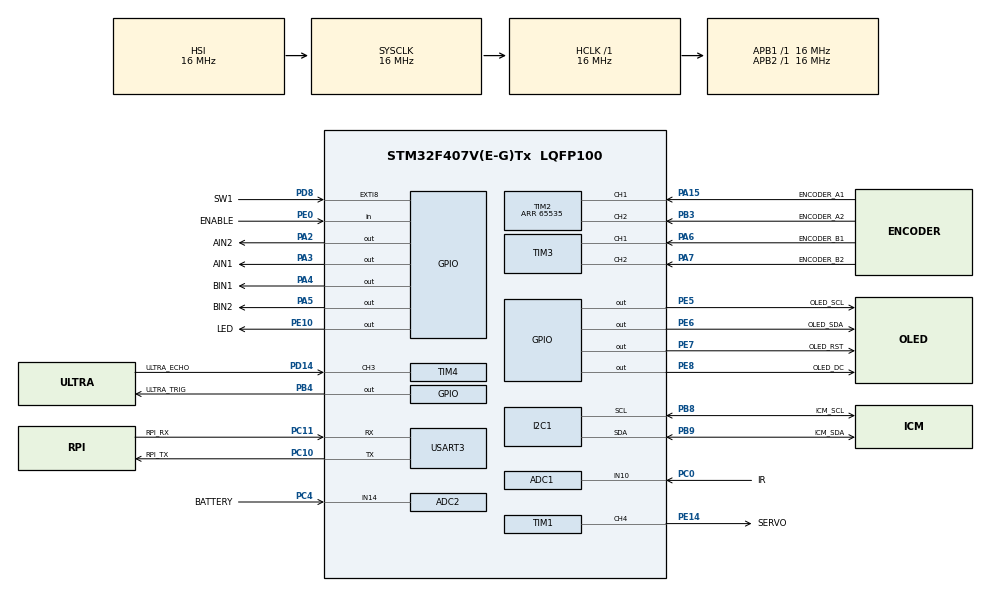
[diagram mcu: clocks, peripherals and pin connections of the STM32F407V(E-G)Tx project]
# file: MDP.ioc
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ADC1.Channel-2\#ChannelRegularConversion=ADC_CHANNEL_10
ADC1.NbrOfConversion=1
ADC1.NbrOfConversionFlag=1
ADC1.Rank-2\#ChannelRegularConversion=1
ADC1.SamplingTime-2\#ChannelRegularConversion=ADC_SAMPLETIME_3CYCLES
ADC1.master=1
ADC2.Channel-1\#ChannelRegularConversion=ADC_CHANNEL_14
ADC2.NbrOfConversionFlag=1
ADC2.Rank-1\#ChannelRegularConversion=1
ADC2.SamplingTime-1\#ChannelRegularConversion=ADC_SAMPLETIME_3CYCLES
FREERTOS.Tasks01=OLEDTask,24,128,oled,Default,NULL,Dynamic,NULL,NULL;IRTask,24,128,ir,Default,NULL,Dynamic,NULL,NULL;RPiTask,24,128,rpi,Default,NULL,Dynamic,NULL,NULL;ServoTask,24,128,servo,Default,NULL,Dynamic,NULL,NULL;DispatchTask,24,128,dispatch,Default,NULL,Dynamic,NULL,NULL;BatteryTask,24,128,battery,Default,NULL,Dynamic,NULL,NULL;LEDTask,24,128,led,Default,NULL,Dynamic,NULL,NULL;UltraTask,24,128,ultra,Default,NULL,Dynamic,NULL,NULL;MotorTask,24,128,motor,Default,NULL,Dynamic,NULL,NULL;EncoderTask,24,128,encoder,Default,NULL,Dynamic,NULL,NULL;ICMTask,24,128,icm,Default,NULL,Dynamic,NULL,NULL
I2C1.I2C_Mode=I2C_Fast
Mcu.Family=STM32F4
Mcu.Name=STM32F407V(E-G)Tx
Mcu.Package=LQFP100
NVIC.EXTI9_5_IRQn=true\:5\:0\:false\:false\:true\:true\:true\:true\:true
NVIC.PriorityGroup=NVIC_PRIORITYGROUP_4
NVIC.TIM4_IRQn=true\:5\:0\:false\:false\:true\:true\:true\:true\:true
NVIC.USART3_IRQn=true\:5\:0\:false\:false\:true\:true\:true\:true\:true
PA15.GPIO_Label=ENCODER_A1
PA15.Signal=S_TIM2_CH1_ETR
PA2.GPIO_Label=AIN2
PA2.GPIO_Speed=GPIO_SPEED_FREQ_HIGH
PA2.Signal=GPIO_Output
PA3.GPIO_Label=AIN1
PA3.GPIO_Speed=GPIO_SPEED_FREQ_HIGH
PA3.Signal=GPIO_Output
PA4.GPIO_Label=BIN1
PA4.GPIO_Speed=GPIO_SPEED_FREQ_HIGH
PA4.Signal=GPIO_Output
PA5.GPIO_Label=BIN2
PA5.GPIO_Speed=GPIO_SPEED_FREQ_HIGH
PA5.Signal=GPIO_Output
PA6.GPIO_Label=ENCODER_B1
PA6.Signal=S_TIM3_CH1
PA7.GPIO_Label=ENCODER_B2
PA7.Signal=S_TIM3_CH2
PB3.GPIO_Label=ENCODER_A2
PB3.Signal=S_TIM2_CH2
PB4.GPIO_Label=ULTRA_TRIG
PB4.Signal=GPIO_Output
PB8.GPIO_Label=ICM_SCL
PB8.GPIO_Pu=GPIO_PULLUP
PB8.Mode=I2C
PB8.Signal=I2C1_SCL
PB9.GPIO_Label=ICM_SDA
PB9.GPIO_Pu=GPIO_PULLUP
PB9.Mode=I2C
PB9.Signal=I2C1_SDA
PC0.GPIO_Label=IR
PC0.Signal=ADCx_IN10
PC10.GPIO_Label=RPI_TX
PC10.Mode=Asynchronous
PC10.Signal=USART3_TX
PC11.GPIO_Label=RPI_RX
PC11.Mode=Asynchronous
PC11.Signal=USART3_RX
PC4.GPIO_Label=BATTERY
PC4.Signal=ADCx_IN14
PC6.GPIO_Label=PWMA
PC6.Signal=S_TIM8_CH1
PC7.GPIO_Label=PWMB
PC7.Signal=S_TIM8_CH2
PD14.GPIO_Label=ULTRA_ECHO
PD14.Signal=S_TIM4_CH3
PD8.GPIO_Label=SW1
PD8.GPIO_ModeDefaultEXTI=GPIO_MODE_IT_FALLING
PD8.Signal=GPXTI8
PE0.GPIO_Label=ENABLE
PE0.Signal=GPIO_Input
PE10.GPIO_Label=LED
PE10.Signal=GPIO_Output
PE14.GPIO_Label=SERVO
PE14.Signal=S_TIM1_CH4
PE5.GPIO_Label=OLED_SCL
PE5.Signal=GPIO_Output
PE6.GPIO_Label=OLED_SDA
PE6.Signal=GPIO_Output
PE7.GPIO_Label=OLED_RST
PE7.Signal=GPIO_Output
PE8.GPIO_Label=OLED_DC
PE8.Signal=GPIO_Output
ProjectManager.HeapSize=0x200
ProjectManager.StackSize=0x400
ProjectManager.TargetToolchain=STM32CubeIDE
RCC.AHBFreq_Value=16000000
RCC.APB1Freq_Value=16000000
RCC.APB2Freq_Value=16000000
RCC.CortexFreq_Value=16000000
RCC.HSE_VALUE=25000000
RCC.HSI_VALUE=16000000
RCC.LSE_VALUE=32768
RCC.SYSCLKFreq_VALUE=16000000
RCC.VCOOutputFreq_Value=192000000
SH.ADCx_IN10.0=ADC1_IN10,IN10
SH.ADCx_IN14.0=ADC2_IN14,IN14
SH.S_TIM1_CH4.0=TIM1_CH4,PWM Generation4 CH4
SH.S_TIM2_CH1_ETR.0=TIM2_CH1,Encoder_Interface
SH.S_TIM2_CH2.0=TIM2_CH2,Encoder_Interface
SH.S_TIM3_CH1.0=TIM3_CH1,Encoder_Interface
SH.S_TIM3_CH2.0=TIM3_CH2,Encoder_Interface
SH.S_TIM4_CH3.0=TIM4_CH3,Input_Capture3_from_TI3
SH.S_TIM8_CH1.0=TIM8_CH1
SH.S_TIM8_CH2.0=TIM8_CH2
TIM1.AutoReloadPreload=TIM_AUTORELOAD_PRELOAD_ENABLE
TIM1.Channel-PWM\ Generation4\ CH4=TIM_CHANNEL_4
TIM1.Period=1000
TIM1.Prescaler=320
TIM2.EncoderMode=TIM_ENCODERMODE_TI12
TIM2.IC1Filter=10
TIM2.IC2Filter=10
TIM2.Period=65535
TIM3.EncoderMode=TIM_ENCODERMODE_TI12
TIM3.IC1Filter=10
TIM3.IC2Filter=10
TIM4.Channel-Input_Capture3_from_TI3=TIM_CHANNEL_3
TIM4.Prescaler=15
TIM5.Prescaler=15
TIM8.Channel-PWM\ Generation1\ No\ Output=TIM_CHANNEL_1
TIM8.Channel-PWM\ Generation2\ No\ Output=TIM_CHANNEL_2
TIM8.Period=16799
USART3.VirtualMode=VM_ASYNC
VP_FREERTOS_VS_CMSIS_V2.Mode=CMSIS_V2
VP_TIM5_VS_ClockSourceINT.Mode=Internal
VP_TIM8_VS_ClockSourceINT.Mode=Internal
VP_TIM8_VS_no_output1.Mode=PWM Generation1 No Output
VP_TIM8_VS_no_output2.Mode=PWM Generation2 No Output
board=custom

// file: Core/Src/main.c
/* USER CODE BEGIN Header */
/**
  ******************************************************************************
  * @file           : main.c
  * @brief          : Main program body
  ******************************************************************************
  * @attention
  *
  * Copyright (c) 2022 STMicroelectronics.
  * All rights reserved.
  *
  * This software is licensed under terms that can be found in the LICENSE file
  * in the root directory of this software component.
  * If no LICENSE file comes with this software, it is provided AS-IS.
  *
  ******************************************************************************
  */
/* USER CODE END Header */
#include "main.h"
#include "cmsis_os.h"

/* USER CODE BEGIN Includes */
#include <stdio.h>
#include <stdlib.h>
#include <string.h>
#include "icm20948.h"
#include "oled.h"
#include "tm_stm32_ahrs_imu.h"
#include "tm_stm32_i2c.h"
/* USER CODE END Includes */

ADC_HandleTypeDef hadc1;
ADC_HandleTypeDef hadc2;

I2C_HandleTypeDef hi2c1;

TIM_HandleTypeDef htim1;
TIM_HandleTypeDef htim2;
TIM_HandleTypeDef htim3;
TIM_HandleTypeDef htim4;
TIM_HandleTypeDef htim5;
TIM_HandleTypeDef htim8;

UART_HandleTypeDef huart3;

/* Definitions for OLEDTask */
osThreadId_t OLEDTaskHandle;
const osThreadAttr_t OLEDTask_attributes = {
  .name = "OLEDTask",
  .stack_size = 128 * 4,
  .priority = (osPriority_t) osPriorityNormal,
};
/* Definitions for IRTask */
osThreadId_t IRTaskHandle;
const osThreadAttr_t IRTask_attributes = {
  .name = "IRTask",
  .stack_size = 128 * 4,
  .priority = (osPriority_t) osPriorityNormal,
};
/* Definitions for RPiTask */
osThreadId_t RPiTaskHandle;
const osThreadAttr_t RPiTask_attributes = {
  .name = "RPiTask",
  .stack_size = 128 * 4,
  .priority = (osPriority_t) osPriorityNormal,
};
/* Definitions for ServoTask */
osThreadId_t ServoTaskHandle;
const osThreadAttr_t ServoTask_attributes = {
  .name = "ServoTask",
  .stack_size = 128 * 4,
  .priority = (osPriority_t) osPriorityNormal,
};
/* Definitions for DispatchTask */
osThreadId_t DispatchTaskHandle;
const osThreadAttr_t DispatchTask_attributes = {
  .name = "DispatchTask",
  .stack_size = 128 * 4,
  .priority = (osPriority_t) osPriorityNormal,
};
/* Definitions for BatteryTask */
osThreadId_t BatteryTaskHandle;
const osThreadAttr_t BatteryTask_attributes = {
  .name = "BatteryTask",
  .stack_size = 128 * 4,
  .priority = (osPriority_t) osPriorityNormal,
};
/* Definitions for LEDTask */
osThreadId_t LEDTaskHandle;
const osThreadAttr_t LEDTask_attributes = {
  .name = "LEDTask",
  .stack_size = 128 * 4,
  .priority = (osPriority_t) osPriorityNormal,
};
/* Definitions for UltraTask */
osThreadId_t UltraTaskHandle;
const osThreadAttr_t UltraTask_attributes = {
  .name = "UltraTask",
  .stack_size = 128 * 4,
  .priority = (osPriority_t) osPriorityNormal,
};
/* Definitions for MotorTask */
osThreadId_t MotorTaskHandle;
const osThreadAttr_t MotorTask_attributes = {
  .name = "MotorTask",
  .stack_size = 128 * 4,
  .priority = (osPriority_t) osPriorityNormal,
};
/* Definitions for EncoderTask */
osThreadId_t EncoderTaskHandle;
const osThreadAttr_t EncoderTask_attributes = {
  .name = "EncoderTask",
  .stack_size = 128 * 4,
  .priority = (osPriority_t) osPriorityNormal,
};
/* Definitions for ICMTask */
osThreadId_t ICMTaskHandle;
const osThreadAttr_t ICMTask_attributes = {
  .name = "ICMTask",
  .stack_size = 128 * 4,
  .priority = (osPriority_t) osPriorityNormal,
};

void SystemClock_Config(void);
static void MX_GPIO_Init(void);
static void MX_TIM1_Init(void);
static void MX_TIM2_Init(void);
static void MX_TIM3_Init(void);
static void MX_TIM8_Init(void);
static void MX_USART3_UART_Init(void);
static void MX_ADC1_Init(void);
static void MX_ADC2_Init(void);
static void MX_TIM5_Init(void);
static void MX_TIM4_Init(void);
static void MX_I2C1_Init(void);
void oled(void *argument);
void ir(void *argument);
void rpi(void *argument);
void servo(void *argument);
void dispatch(void *argument);
void battery(void *argument);
void led(void *argument);
void ultra(void *argument);
void motor(void *argument);
void encoder(void *argument);
void icm(void *argument);

/* USER CODE BEGIN PFP */
float avgVal(uint32_t *val, uint8_t size, float grad, float inter);
float fmedVal(float *val, uint8_t size);
float irToDist();
int cmpfVal(const void *val1, const void *val2);
int cmpuVal(const void *val1, const void *val2);
uint8_t bufferFilled(uint8_t *buffer, uint8_t size);
void changeProfile();
void clearCmds();
void microDelay(uint32_t us);
void fvalShift(float *val, uint8_t size);
void valShift(uint32_t *val, uint8_t size);

void adjustRobot();
void driveRobot(uint8_t *cmd);
void pid(uint32_t dur);
void stopRobot();
void turnRobot(uint8_t *cmd);
/* USER CODE END PFP */

/* USER CODE BEGIN 0 */
float pi, radius;
float encoderGrad, encoderInt;
float kdbA, kdfA, kibA, kifA, kpbA, kpfA, kdbB, kdfB, kibB, kifB, kpbB, kpfB;
float iTermA, iTermB;
float adjustDist, changeDist, distA, distB, distBuffer, distOffset, eStopDist, robotDist, turnOffset;
float lbGrad, lbInt, lfGrad, lfInt, rbGrad, rbInt, rfGrad, rfInt;
float irMaintain, irMaintainThres, irMeasured[8], irObsThres, prevUltraThres, ultraGrad, ultraHThres, ultraLThres, ultraThres;
float beta, inclination, prevYaw, yawVal[5], yawDiff, yawDir[4], yawThreshold;

int actionCounter, fillCounter;
int highMotorAPWM, highMotorBPWM, lowMotorAPWM, lowMotorBPWM, maxMotorPWM, motorAVal, motorBVal, prevMotorAVal, prevMotorBVal;
int encoderAVal, encoderBVal, encoderTarget;
int countRequired, errorA, errorB, pidCount, prevEncoderA, prevEncoderB;
int robotAngle;

TM_AHRSIMU_t imu;

uint8_t cmds[1000][20], cmdState, rxBuffer[20], txBuffer[20];
uint8_t angleCmd, driveCmd, enablePID, enablePWMDec, enablePWMInc, eStop, irAdjust, startDriving, startPID, ultraSlow;
uint8_t batteryState[13];
uint8_t profile;
uint8_t ultraCapture;
uint8_t adjustDir, enableAdjust, facingDir, useMag;
uint8_t batteryCounter, irCounter, ultraCounter, yawCounter;

uint32_t servoCenter, servoFarLeft, servoFarRight, servoLeft, servoRight, servoVal, timerCounter1, timerCounter2, timerDiff;
uint32_t batteryVal[5], irVal[100], ultraVal[100];
uint32_t batteryDelay, dispatchDelay, encoderDelay, icmDelay, irDelay, ledDelay, motorDelay, oledDelay, rpiDelay, servoDelay, ultraDelay;  // rpiDelay <= encoderDelay
uint32_t adjustDelay, irAdjustDelay, irThresDelay, stoppingDelay, turningDelay;
/* USER CODE END 0 */

int main(void)
{

  /* MCU Configuration--------------------------------------------------------*/

  /* Reset of all peripherals, Initializes the Flash interface and the Systick. */
  HAL_Init();

  /* Configure the system clock */
  SystemClock_Config();

  /* Initialize all configured peripherals */
  MX_GPIO_Init();
  MX_TIM1_Init();
  MX_TIM2_Init();
  MX_TIM3_Init();
  MX_TIM8_Init();
  MX_USART3_UART_Init();
  MX_ADC1_Init();
  MX_ADC2_Init();
  MX_TIM5_Init();
  MX_TIM4_Init();
  MX_I2C1_Init();
  /* USER CODE BEGIN 2 */
  pi = 3.1415926536;
  radius = 3.35;

  adjustDist = 5;  //adjustDist > distBuffer + encoderInt, Distance travelled during each adjustment
  changeDist = 10; //Distance travelled to speed up and distance remaining to slow down

  irMaintainThres = 3; //Turn servo if IR is outside of IR target +- irMaintainThres
  irObsThres = 40;     //Distance to obstacle > irObsThres to stop FIR/BIR, irObsThres > IR target + irMaintainThres

  irMeasured[0] = 1980; //10 cm
  irMeasured[1] = 1300; //20 cm
  irMeasured[2] = 970;  //30 cm
  irMeasured[3] = 780;  //40 cm
  irMeasured[4] = 650;  //50 cm
  irMeasured[5] = 540;  //60 cm
  irMeasured[6] = 470;  //70 cm
  irMeasured[7] = 422;  //80 cm

  ultraGrad = 0.01715;
  ultraLThres = 10; //Distance to obstacle <= ultraThres to emergency stop for low PWM
  ultraHThres = 15; //Distance to obstacle <= ultraThres to emergency stop for high PWM

  beta = 3;        //Gain for yaw calculation
  inclination = 13 + 19.0 / 60;
  prevYaw = -1;
  yawDir[0] = 85;   //North
  yawDir[1] = 4;    //East
  yawDir[2] = 237;  //South
  yawDir[3] = 154;  //West
  yawThreshold = 5; //Yaw is within yawDir[n] +- yawThreshold to stop adjusting

  maxMotorPWM = 12000;

  countRequired = 20;

  clearCmds();

  memset(rxBuffer, 0, 20);
  memset(txBuffer, 0, 20);

  angleCmd = 0;
  driveCmd = 0;
  enablePID = 0;
  irAdjust = 0;
  startDriving = 0;
  startPID = 0;

  sprintf((char*)batteryState, "Batt:       ");

  profile = 0; //0 - Outside Lab, 1 - Inside Lab
  changeProfile();

  ultraCapture = 0;

  enableAdjust = 0; //Adjustment after each movement using Yaw
  facingDir = 0;    //0 - North, 1 - East, 2 - South, 3 - West
  useMag = 1;       //Allow usage of magnetometer for Yaw calculation

  servoCenter = 74;
  servoFarLeft = 50;
  servoFarRight = 109;
  servoLeft = 65;
  servoRight = 85;
  servoVal = servoCenter;

  batteryCounter = 0;
  irCounter = 0;
  ultraCounter = 0;
  yawCounter = 0;

  for (int counter = 0; counter < 5; ++counter)
  {
	batteryVal[counter] = 0;
	yawVal[counter] = 0;
  }

  for (int counter = 0; counter < 100; ++counter)
  {
	irVal[counter] = 0;
	ultraVal[counter] = 0;
  }

  batteryDelay = 2000;
  dispatchDelay = 1;
  encoderDelay = 25;
  icmDelay = 25;
  irDelay = 1;
  ledDelay = 3000;
  motorDelay = 1;
  oledDelay = 10;
  rpiDelay = 1;
  servoDelay = 1;
  ultraDelay = 1;

  adjustDelay = 700;   //Delay for Yaw value to stabilise
  irAdjustDelay = 2;   //Delay for robot to adjust servo for maintaining IR distance
  irThresDelay = 10;   //Delay for robot to move after IR clears obstacle
  stoppingDelay = 100; //Delay for motor to stop before turning back servo after movement stop
  turningDelay = 500;  //Delay for servo to turn before any other movement

  HAL_TIM_Base_Start(&htim5);
  /* USER CODE END 2 */

  /* Init scheduler */
  osKernelInitialize();

  /* Create the thread(s) */
  /* creation of OLEDTask */
  OLEDTaskHandle = osThreadNew(oled, NULL, &OLEDTask_attributes);

  /* creation of IRTask */
  IRTaskHandle = osThreadNew(ir, NULL, &IRTask_attributes);

  /* creation of RPiTask */
  RPiTaskHandle = osThreadNew(rpi, NULL, &RPiTask_attributes);

  /* creation of ServoTask */
  ServoTaskHandle = osThreadNew(servo, NULL, &ServoTask_attributes);

  /* creation of DispatchTask */
  DispatchTaskHandle = osThreadNew(dispatch, NULL, &DispatchTask_attributes);

  /* creation of BatteryTask */
  BatteryTaskHandle = osThreadNew(battery, NULL, &BatteryTask_attributes);

  /* creation of LEDTask */
  LEDTaskHandle = osThreadNew(led, NULL, &LEDTask_attributes);

  /* creation of UltraTask */
  UltraTaskHandle = osThreadNew(ultra, NULL, &UltraTask_attributes);

  /* creation of MotorTask */
  MotorTaskHandle = osThreadNew(motor, NULL, &MotorTask_attributes);

  /* creation of EncoderTask */
  EncoderTaskHandle = osThreadNew(encoder, NULL, &EncoderTask_attributes);

  /* creation of ICMTask */
  ICMTaskHandle = osThreadNew(icm, NULL, &ICMTask_attributes);

  /* Start scheduler */
  osKernelStart();

  /* We should never get here as control is now taken by the scheduler */
  /* Infinite loop */
  while (1)
  {

  }
}

void SystemClock_Config(void)
{
  RCC_OscInitTypeDef RCC_OscInitStruct = {0};
  RCC_ClkInitTypeDef RCC_ClkInitStruct = {0};

  /** Configure the main internal regulator output voltage
  */
  __HAL_RCC_PWR_CLK_ENABLE();
  __HAL_PWR_VOLTAGESCALING_CONFIG(PWR_REGULATOR_VOLTAGE_SCALE1);

  /** Initializes the RCC Oscillators according to the specified parameters
  * in the RCC_OscInitTypeDef structure.
  */
  RCC_OscInitStruct.OscillatorType = RCC_OSCILLATORTYPE_HSI;
  RCC_OscInitStruct.HSIState = RCC_HSI_ON;
  RCC_OscInitStruct.HSICalibrationValue = RCC_HSICALIBRATION_DEFAULT;
  RCC_OscInitStruct.PLL.PLLState = RCC_PLL_NONE;
  if (HAL_RCC_OscConfig(&RCC_OscInitStruct) != HAL_OK)
  {
    Error_Handler();
  }

  /** Initializes the CPU, AHB and APB buses clocks
  */
  RCC_ClkInitStruct.ClockType = RCC_CLOCKTYPE_HCLK|RCC_CLOCKTYPE_SYSCLK
                              |RCC_CLOCKTYPE_PCLK1|RCC_CLOCKTYPE_PCLK2;
  RCC_ClkInitStruct.SYSCLKSource = RCC_SYSCLKSOURCE_HSI;
  RCC_ClkInitStruct.AHBCLKDivider = RCC_SYSCLK_DIV1;
  RCC_ClkInitStruct.APB1CLKDivider = RCC_HCLK_DIV1;
  RCC_ClkInitStruct.APB2CLKDivider = RCC_HCLK_DIV1;

  if (HAL_RCC_ClockConfig(&RCC_ClkInitStruct, FLASH_LATENCY_0) != HAL_OK)
  {
    Error_Handler();
  }
}

static void MX_ADC1_Init(void)
{

  ADC_ChannelConfTypeDef sConfig = {0};

  /** Configure the global features of the ADC (Clock, Resolution, Data Alignment and number of conversion)
  */
  hadc1.Instance = ADC1;
  hadc1.Init.ClockPrescaler = ADC_CLOCK_SYNC_PCLK_DIV2;
  hadc1.Init.Resolution = ADC_RESOLUTION_12B;
  hadc1.Init.ScanConvMode = DISABLE;
  hadc1.Init.ContinuousConvMode = DISABLE;
  hadc1.Init.DiscontinuousConvMode = DISABLE;
  hadc1.Init.ExternalTrigConvEdge = ADC_EXTERNALTRIGCONVEDGE_NONE;
  hadc1.Init.ExternalTrigConv = ADC_SOFTWARE_START;
  hadc1.Init.DataAlign = ADC_DATAALIGN_RIGHT;
  hadc1.Init.NbrOfConversion = 1;
  hadc1.Init.DMAContinuousRequests = DISABLE;
  hadc1.Init.EOCSelection = ADC_EOC_SINGLE_CONV;
  if (HAL_ADC_Init(&hadc1) != HAL_OK)
  {
    Error_Handler();
  }

  /** Configure for the selected ADC regular channel its corresponding rank in the sequencer and its sample time.
  */
  sConfig.Channel = ADC_CHANNEL_10;
  sConfig.Rank = 1;
  sConfig.SamplingTime = ADC_SAMPLETIME_3CYCLES;
  if (HAL_ADC_ConfigChannel(&hadc1, &sConfig) != HAL_OK)
  {
    Error_Handler();
  }

}

static void MX_ADC2_Init(void)
{

  ADC_ChannelConfTypeDef sConfig = {0};

  /** Configure the global features of the ADC (Clock, Resolution, Data Alignment and number of conversion)
  */
  hadc2.Instance = ADC2;
  hadc2.Init.ClockPrescaler = ADC_CLOCK_SYNC_PCLK_DIV2;
  hadc2.Init.Resolution = ADC_RESOLUTION_12B;
  hadc2.Init.ScanConvMode = DISABLE;
  hadc2.Init.ContinuousConvMode = DISABLE;
  hadc2.Init.DiscontinuousConvMode = DISABLE;
  hadc2.Init.ExternalTrigConvEdge = ADC_EXTERNALTRIGCONVEDGE_NONE;
  hadc2.Init.ExternalTrigConv = ADC_SOFTWARE_START;
  hadc2.Init.DataAlign = ADC_DATAALIGN_RIGHT;
  hadc2.Init.NbrOfConversion = 1;
  hadc2.Init.DMAContinuousRequests = DISABLE;
  hadc2.Init.EOCSelection = ADC_EOC_SINGLE_CONV;
  if (HAL_ADC_Init(&hadc2) != HAL_OK)
  {
    Error_Handler();
  }

  /** Configure for the selected ADC regular channel its corresponding rank in the sequencer and its sample time.
  */
  sConfig.Channel = ADC_CHANNEL_14;
  sConfig.Rank = 1;
  sConfig.SamplingTime = ADC_SAMPLETIME_3CYCLES;
  if (HAL_ADC_ConfigChannel(&hadc2, &sConfig) != HAL_OK)
  {
    Error_Handler();
  }

}

static void MX_I2C1_Init(void)
{

  hi2c1.Instance = I2C1;
  hi2c1.Init.ClockSpeed = 400000;
  hi2c1.Init.DutyCycle = I2C_DUTYCYCLE_2;
  hi2c1.Init.OwnAddress1 = 0;
  hi2c1.Init.AddressingMode = I2C_ADDRESSINGMODE_7BIT;
  hi2c1.Init.DualAddressMode = I2C_DUALADDRESS_DISABLE;
  hi2c1.Init.OwnAddress2 = 0;
  hi2c1.Init.GeneralCallMode = I2C_GENERALCALL_DISABLE;
  hi2c1.Init.NoStretchMode = I2C_NOSTRETCH_DISABLE;
  if (HAL_I2C_Init(&hi2c1) != HAL_OK)
  {
    Error_Handler();
  }

}

static void MX_TIM1_Init(void)
{

  TIM_MasterConfigTypeDef sMasterConfig = {0};
  TIM_OC_InitTypeDef sConfigOC = {0};
  TIM_BreakDeadTimeConfigTypeDef sBreakDeadTimeConfig = {0};

  htim1.Instance = TIM1;
  htim1.Init.Prescaler = 320;
  htim1.Init.CounterMode = TIM_COUNTERMODE_UP;
  htim1.Init.Period = 1000;
  htim1.Init.ClockDivision = TIM_CLOCKDIVISION_DIV1;
  htim1.Init.RepetitionCounter = 0;
  htim1.Init.AutoReloadPreload = TIM_AUTORELOAD_PRELOAD_ENABLE;
  if (HAL_TIM_PWM_Init(&htim1) != HAL_OK)
  {
    Error_Handler();
  }
  sMasterConfig.MasterOutputTrigger = TIM_TRGO_RESET;
  sMasterConfig.MasterSlaveMode = TIM_MASTERSLAVEMODE_DISABLE;
  if (HAL_TIMEx_MasterConfigSynchronization(&htim1, &sMasterConfig) != HAL_OK)
  {
    Error_Handler();
  }
  sConfigOC.OCMode = TIM_OCMODE_PWM1;
  sConfigOC.Pulse = 0;
  sConfigOC.OCPolarity = TIM_OCPOLARITY_HIGH;
  sConfigOC.OCFastMode = TIM_OCFAST_DISABLE;
  sConfigOC.OCIdleState = TIM_OCIDLESTATE_RESET;
  sConfigOC.OCNIdleState = TIM_OCNIDLESTATE_RESET;
  if (HAL_TIM_PWM_ConfigChannel(&htim1, &sConfigOC, TIM_CHANNEL_4) != HAL_OK)
  {
    Error_Handler();
  }
  sBreakDeadTimeConfig.OffStateRunMode = TIM_OSSR_DISABLE;
  sBreakDeadTimeConfig.OffStateIDLEMode = TIM_OSSI_DISABLE;
  sBreakDeadTimeConfig.LockLevel = TIM_LOCKLEVEL_OFF;
  sBreakDeadTimeConfig.DeadTime = 0;
  sBreakDeadTimeConfig.BreakState = TIM_BREAK_DISABLE;
  sBreakDeadTimeConfig.BreakPolarity = TIM_BREAKPOLARITY_HIGH;
  sBreakDeadTimeConfig.AutomaticOutput = TIM_AUTOMATICOUTPUT_DISABLE;
  if (HAL_TIMEx_ConfigBreakDeadTime(&htim1, &sBreakDeadTimeConfig) != HAL_OK)
  {
    Error_Handler();
  }
  HAL_TIM_MspPostInit(&htim1);

}

static void MX_TIM2_Init(void)
{

  TIM_Encoder_InitTypeDef sConfig = {0};
  TIM_MasterConfigTypeDef sMasterConfig = {0};

  htim2.Instance = TIM2;
  htim2.Init.Prescaler = 0;
  htim2.Init.CounterMode = TIM_COUNTERMODE_UP;
  htim2.Init.Period = 65535;
  htim2.Init.ClockDivision = TIM_CLOCKDIVISION_DIV1;
  htim2.Init.AutoReloadPreload = TIM_AUTORELOAD_PRELOAD_DISABLE;
  sConfig.EncoderMode = TIM_ENCODERMODE_TI12;
  sConfig.IC1Polarity = TIM_ICPOLARITY_RISING;
  sConfig.IC1Selection = TIM_ICSELECTION_DIRECTTI;
  sConfig.IC1Prescaler = TIM_ICPSC_DIV1;
  sConfig.IC1Filter = 10;
  sConfig.IC2Polarity = TIM_ICPOLARITY_RISING;
  sConfig.IC2Selection = TIM_ICSELECTION_DIRECTTI;
  sConfig.IC2Prescaler = TIM_ICPSC_DIV1;
  sConfig.IC2Filter = 10;
  if (HAL_TIM_Encoder_Init(&htim2, &sConfig) != HAL_OK)
  {
    Error_Handler();
  }
  sMasterConfig.MasterOutputTrigger = TIM_TRGO_RESET;
  sMasterConfig.MasterSlaveMode = TIM_MASTERSLAVEMODE_DISABLE;
  if (HAL_TIMEx_MasterConfigSynchronization(&htim2, &sMasterConfig) != HAL_OK)
  {
    Error_Handler();
  }

}

static void MX_TIM3_Init(void)
{

  TIM_Encoder_InitTypeDef sConfig = {0};
  TIM_MasterConfigTypeDef sMasterConfig = {0};

  htim3.Instance = TIM3;
  htim3.Init.Prescaler = 0;
  htim3.Init.CounterMode = TIM_COUNTERMODE_UP;
  htim3.Init.Period = 65535;
  htim3.Init.ClockDivision = TIM_CLOCKDIVISION_DIV1;
  htim3.Init.AutoReloadPreload = TIM_AUTORELOAD_PRELOAD_DISABLE;
  sConfig.EncoderMode = TIM_ENCODERMODE_TI12;
  sConfig.IC1Polarity = TIM_ICPOLARITY_RISING;
  sConfig.IC1Selection = TIM_ICSELECTION_DIRECTTI;
  sConfig.IC1Prescaler = TIM_ICPSC_DIV1;
  sConfig.IC1Filter = 10;
  sConfig.IC2Polarity = TIM_ICPOLARITY_RISING;
  sConfig.IC2Selection = TIM_ICSELECTION_DIRECTTI;
  sConfig.IC2Prescaler = TIM_ICPSC_DIV1;
  sConfig.IC2Filter = 10;
  if (HAL_TIM_Encoder_Init(&htim3, &sConfig) != HAL_OK)
  {
    Error_Handler();
  }
  sMasterConfig.MasterOutputTrigger = TIM_TRGO_RESET;
  sMasterConfig.MasterSlaveMode = TIM_MASTERSLAVEMODE_DISABLE;
  if (HAL_TIMEx_MasterConfigSynchronization(&htim3, &sMasterConfig) != HAL_OK)
  {
    Error_Handler();
  }

}

static void MX_TIM4_Init(void)
{

  TIM_MasterConfigTypeDef sMasterConfig = {0};
  TIM_IC_InitTypeDef sConfigIC = {0};

  htim4.Instance = TIM4;
  htim4.Init.Prescaler = 15;
  htim4.Init.CounterMode = TIM_COUNTERMODE_UP;
  htim4.Init.Period = 65535;
  htim4.Init.ClockDivision = TIM_CLOCKDIVISION_DIV1;
  htim4.Init.AutoReloadPreload = TIM_AUTORELOAD_PRELOAD_DISABLE;
  if (HAL_TIM_IC_Init(&htim4) != HAL_OK)
  {
    Error_Handler();
  }
  sMasterConfig.MasterOutputTrigger = TIM_TRGO_RESET;
  sMasterConfig.MasterSlaveMode = TIM_MASTERSLAVEMODE_DISABLE;
  if (HAL_TIMEx_MasterConfigSynchronization(&htim4, &sMasterConfig) != HAL_OK)
  {
    Error_Handler();
  }
  sConfigIC.ICPolarity = TIM_INPUTCHANNELPOLARITY_RISING;
  sConfigIC.ICSelection = TIM_ICSELECTION_DIRECTTI;
  sConfigIC.ICPrescaler = TIM_ICPSC_DIV1;
  sConfigIC.ICFilter = 0;
  if (HAL_TIM_IC_ConfigChannel(&htim4, &sConfigIC, TIM_CHANNEL_3) != HAL_OK)
  {
    Error_Handler();
  }

}

static void MX_TIM5_Init(void)
{

  TIM_ClockConfigTypeDef sClockSourceConfig = {0};
  TIM_MasterConfigTypeDef sMasterConfig = {0};

  htim5.Instance = TIM5;
  htim5.Init.Prescaler = 15;
  htim5.Init.CounterMode = TIM_COUNTERMODE_UP;
  htim5.Init.Period = 4294967295;
  htim5.Init.ClockDivision = TIM_CLOCKDIVISION_DIV1;
  htim5.Init.AutoReloadPreload = TIM_AUTORELOAD_PRELOAD_DISABLE;
  if (HAL_TIM_Base_Init(&htim5) != HAL_OK)
  {
    Error_Handler();
  }
  sClockSourceConfig.ClockSource = TIM_CLOCKSOURCE_INTERNAL;
  if (HAL_TIM_ConfigClockSource(&htim5, &sClockSourceConfig) != HAL_OK)
  {
    Error_Handler();
  }
  sMasterConfig.MasterOutputTrigger = TIM_TRGO_RESET;
  sMasterConfig.MasterSlaveMode = TIM_MASTERSLAVEMODE_DISABLE;
  if (HAL_TIMEx_MasterConfigSynchronization(&htim5, &sMasterConfig) != HAL_OK)
  {
    Error_Handler();
  }

}

static void MX_TIM8_Init(void)
{

  TIM_ClockConfigTypeDef sClockSourceConfig = {0};
  TIM_MasterConfigTypeDef sMasterConfig = {0};
  TIM_OC_InitTypeDef sConfigOC = {0};
  TIM_BreakDeadTimeConfigTypeDef sBreakDeadTimeConfig = {0};

  htim8.Instance = TIM8;
  htim8.Init.Prescaler = 0;
  htim8.Init.CounterMode = TIM_COUNTERMODE_UP;
  htim8.Init.Period = 16799;
  htim8.Init.ClockDivision = TIM_CLOCKDIVISION_DIV1;
  htim8.Init.RepetitionCounter = 0;
  htim8.Init.AutoReloadPreload = TIM_AUTORELOAD_PRELOAD_DISABLE;
  if (HAL_TIM_Base_Init(&htim8) != HAL_OK)
  {
    Error_Handler();
  }
  sClockSourceConfig.ClockSource = TIM_CLOCKSOURCE_INTERNAL;
  if (HAL_TIM_ConfigClockSource(&htim8, &sClockSourceConfig) != HAL_OK)
  {
    Error_Handler();
  }
  if (HAL_TIM_PWM_Init(&htim8) != HAL_OK)
  {
    Error_Handler();
  }
  sMasterConfig.MasterOutputTrigger = TIM_TRGO_RESET;
  sMasterConfig.MasterSlaveMode = TIM_MASTERSLAVEMODE_DISABLE;
  if (HAL_TIMEx_MasterConfigSynchronization(&htim8, &sMasterConfig) != HAL_OK)
  {
    Error_Handler();
  }
  sConfigOC.OCMode = TIM_OCMODE_PWM1;
  sConfigOC.Pulse = 0;
  sConfigOC.OCPolarity = TIM_OCPOLARITY_HIGH;
  sConfigOC.OCNPolarity = TIM_OCNPOLARITY_HIGH;
  sConfigOC.OCFastMode = TIM_OCFAST_DISABLE;
  sConfigOC.OCIdleState = TIM_OCIDLESTATE_RESET;
  sConfigOC.OCNIdleState = TIM_OCNIDLESTATE_RESET;
  if (HAL_TIM_PWM_ConfigChannel(&htim8, &sConfigOC, TIM_CHANNEL_1) != HAL_OK)
  {
    Error_Handler();
  }
  if (HAL_TIM_PWM_ConfigChannel(&htim8, &sConfigOC, TIM_CHANNEL_2) != HAL_OK)
  {
    Error_Handler();
  }
  sBreakDeadTimeConfig.OffStateRunMode = TIM_OSSR_DISABLE;
  sBreakDeadTimeConfig.OffStateIDLEMode = TIM_OSSI_DISABLE;
  sBreakDeadTimeConfig.LockLevel = TIM_LOCKLEVEL_OFF;
  sBreakDeadTimeConfig.DeadTime = 0;
  sBreakDeadTimeConfig.BreakState = TIM_BREAK_DISABLE;
  sBreakDeadTimeConfig.BreakPolarity = TIM_BREAKPOLARITY_HIGH;
  sBreakDeadTimeConfig.AutomaticOutput = TIM_AUTOMATICOUTPUT_DISABLE;
  if (HAL_TIMEx_ConfigBreakDeadTime(&htim8, &sBreakDeadTimeConfig) != HAL_OK)
  {
    Error_Handler();
  }

}

static void MX_USART3_UART_Init(void)
{

  huart3.Instance = USART3;
  huart3.Init.BaudRate = 115200;
  huart3.Init.WordLength = UART_WORDLENGTH_8B;
  huart3.Init.StopBits = UART_STOPBITS_1;
  huart3.Init.Parity = UART_PARITY_NONE;
  huart3.Init.Mode = UART_MODE_TX_RX;
  huart3.Init.HwFlowCtl = UART_HWCONTROL_NONE;
  huart3.Init.OverSampling = UART_OVERSAMPLING_16;
  if (HAL_UART_Init(&huart3) != HAL_OK)
  {
    Error_Handler();
  }

}

static void MX_GPIO_Init(void)
{
  GPIO_InitTypeDef GPIO_InitStruct = {0};

  /* GPIO Ports Clock Enable */
  __HAL_RCC_GPIOE_CLK_ENABLE();
  __HAL_RCC_GPIOC_CLK_ENABLE();
  __HAL_RCC_GPIOA_CLK_ENABLE();
  __HAL_RCC_GPIOD_CLK_ENABLE();
  __HAL_RCC_GPIOB_CLK_ENABLE();

  /*Configure GPIO pin Output Level */
  HAL_GPIO_WritePin(GPIOE, OLED_SCL_Pin|OLED_SDA_Pin|OLED_RST_Pin|OLED_DC_Pin
                          |LED_Pin, GPIO_PIN_RESET);

  /*Configure GPIO pin Output Level */
  HAL_GPIO_WritePin(GPIOA, AIN2_Pin|AIN1_Pin|BIN1_Pin|BIN2_Pin, GPIO_PIN_RESET);

  /*Configure GPIO pin Output Level */
  HAL_GPIO_WritePin(ULTRA_TRIG_GPIO_Port, ULTRA_TRIG_Pin, GPIO_PIN_RESET);

  /*Configure GPIO pins : OLED_SCL_Pin OLED_SDA_Pin OLED_RST_Pin OLED_DC_Pin
                           LED_Pin */
  GPIO_InitStruct.Pin = OLED_SCL_Pin|OLED_SDA_Pin|OLED_RST_Pin|OLED_DC_Pin
                          |LED_Pin;
  GPIO_InitStruct.Mode = GPIO_MODE_OUTPUT_PP;
  GPIO_InitStruct.Pull = GPIO_NOPULL;
  GPIO_InitStruct.Speed = GPIO_SPEED_FREQ_LOW;
  HAL_GPIO_Init(GPIOE, &GPIO_InitStruct);

  /*Configure GPIO pins : AIN2_Pin AIN1_Pin BIN1_Pin BIN2_Pin */
  GPIO_InitStruct.Pin = AIN2_Pin|AIN1_Pin|BIN1_Pin|BIN2_Pin;
  GPIO_InitStruct.Mode = GPIO_MODE_OUTPUT_PP;
  GPIO_InitStruct.Pull = GPIO_NOPULL;
  GPIO_InitStruct.Speed = GPIO_SPEED_FREQ_HIGH;
  HAL_GPIO_Init(GPIOA, &GPIO_InitStruct);

  /*Configure GPIO pin : SW1_Pin */
  GPIO_InitStruct.Pin = SW1_Pin;
  GPIO_InitStruct.Mode = GPIO_MODE_IT_FALLING;
  GPIO_InitStruct.Pull = GPIO_NOPULL;
  HAL_GPIO_Init(SW1_GPIO_Port, &GPIO_InitStruct);

  /*Configure GPIO pin : ULTRA_TRIG_Pin */
  GPIO_InitStruct.Pin = ULTRA_TRIG_Pin;
  GPIO_InitStruct.Mode = GPIO_MODE_OUTPUT_PP;
  GPIO_InitStruct.Pull = GPIO_NOPULL;
  GPIO_InitStruct.Speed = GPIO_SPEED_FREQ_LOW;
  HAL_GPIO_Init(ULTRA_TRIG_GPIO_Port, &GPIO_InitStruct);

  /*Configure GPIO pin : ENABLE_Pin */
  GPIO_InitStruct.Pin = ENABLE_Pin;
  GPIO_InitStruct.Mode = GPIO_MODE_INPUT;
  GPIO_InitStruct.Pull = GPIO_NOPULL;
  HAL_GPIO_Init(ENABLE_GPIO_Port, &GPIO_InitStruct);

  /* EXTI interrupt init*/
  HAL_NVIC_SetPriority(EXTI9_5_IRQn, 5, 0);
  HAL_NVIC_EnableIRQ(EXTI9_5_IRQn);

}

/* USER CODE BEGIN 4 */
void HAL_GPIO_EXTI_Callback(uint16_t GPIO_Pin)
{
  if (GPIO_Pin == SW1_Pin)
  {
	profile = 1 - profile;
	changeProfile();
  }
}

void HAL_TIM_IC_CaptureCallback(TIM_HandleTypeDef *htim)
{
  if (htim->Instance == TIM4 && htim->Channel == HAL_TIM_ACTIVE_CHANNEL_3)
  {
    if (ultraCapture == 0)
    {
      __HAL_TIM_SET_COUNTER(htim, 0);
      __HAL_TIM_SET_CAPTUREPOLARITY(htim, TIM_CHANNEL_3, TIM_INPUTCHANNELPOLARITY_FALLING);

      ultraCapture = 1;
    }
    else
    {
      uint32_t tempVal = HAL_TIM_ReadCapturedValue(htim, TIM_CHANNEL_3);

      if (ultraCounter > 99)
    	valShift(ultraVal, 100);

      ultraVal[ultraCounter == 100 ? 99 : ultraCounter++] = tempVal;
      __HAL_TIM_SET_CAPTUREPOLARITY(htim, TIM_CHANNEL_3, TIM_INPUTCHANNELPOLARITY_RISING);
      __HAL_TIM_DISABLE_IT(&htim4, TIM_IT_CC3);

      ultraCapture = 0;
    }
  }
}

void HAL_UART_RxCpltCallback(UART_HandleTypeDef *huart)
{
  UNUSED(huart);
}

float avgVal(uint32_t *val, uint8_t size, float grad, float inter)
{
  float totalVal = 0.0;

  for (int counter = 0; counter < size; ++counter)
	totalVal += val[counter];

  return size == 0 ? 0 : totalVal / size * grad + inter;
}

float fmedVal(float *val, uint8_t size)
{
  float medVal, *sortedVal;

  sortedVal = (float*)malloc(size * sizeof(float));

  for (int counter = 0; counter < size; ++counter)
	sortedVal[counter] = val[counter];

  qsort(sortedVal, size, sizeof(float), cmpfVal);

  if (size % 2 == 0)
	medVal = (sortedVal[size / 2 - 1] + sortedVal[size / 2]) / 2;
  else
	medVal = sortedVal[size / 2];

  free(sortedVal);

  return medVal;
}

float irToDist()
{
  float avgIR = avgVal(irVal, irCounter, 1, 0);

  for (int counter = 0; counter < 8; ++counter)
    if (avgIR >= irMeasured[counter])
      return counter == 0 ? 0 : 10.0 * (counter + (avgIR - irMeasured[counter - 1]) / (irMeasured[counter] - irMeasured[counter - 1]));

  return 70.0 + 10 * (avgIR - irMeasured[6]) / (irMeasured[7] - irMeasured[6]);
}

int cmpfVal(const void *val1, const void *val2)
{
  return *(float*)val1 < *(float*)val2 ? -1 : (*(float*)val1 > *(float*)val2 ? 1 : 0);
}

int cmpuVal(const void *val1, const void *val2)
{
  return *(uint32_t*)val1 < *(uint32_t*)val2 ? -1 : (*(uint32_t*)val1 > *(uint32_t*)val2 ? 1 : 0);
}

uint8_t bufferFilled(uint8_t *buffer, uint8_t size)
{
  for (int counter = 0; counter < size; ++counter)
	if (buffer[counter] == 0)
	  return 0;

  return 1;
}

void changeProfile()
{
  switch (profile)
  {
  case 0: //Outside Lab
	encoderGrad = 0.208496572267945;
	encoderInt = 1.08776618891631;

	kdbA = 1;
	kibA = 256;
	kpbA = 64;

	kdfA = 1;
	kifA = 2;
	kpfA = 32;

	kdbB = 1;
	kibB = 16;
	kpbB = 32;

	kdfB = 1;
	kifB = 8;
	kpfB = 64;

	distOffset = 1;
	turnOffset = 1;

	lbGrad = 0.477744248433485;
	lbInt = 2.02776765331444;
	lfGrad = 0.425142145382334;
	lfInt = 1.59811982955917;
	rbGrad = 0.452958458665014;
	rbInt = 3.65536165354082;
	rfGrad = 0.381832587414008;
	rfInt = 2.05906630142695;

	highMotorAPWM = 8800;
	highMotorBPWM = 9500;
	lowMotorAPWM = 3400;
	lowMotorBPWM = 3500;

	encoderTarget = 130;

	break;
  case 1: //Inside Lab
	encoderGrad = 1;
	encoderInt = 0;

	kdbA = 1;
	kibA = 1;
	kpbA = 1;

	kdfA = 1;
	kifA = 1;
	kpfA = 1;

	kdbB = 1;
	kibB = 1;
	kpbB = 1;

	kdfB = 1;
	kifB = 1;
	kpfB = 1;

	distOffset = 0;
	turnOffset = 0;

	lbGrad = 1;
	lbInt = 0;
	lfGrad = 1;
	lfInt = 0;
	rbGrad = 1;
	rbInt = 0;
	rfGrad = 1;
	rfInt = 0;

	highMotorAPWM = 9500;
	highMotorBPWM = 9500;
	lowMotorAPWM = 3500;
	lowMotorBPWM = 3500;

	encoderTarget = 130;
  }
}

void clearCmds()
{
  cmdState = 3;

  fillCounter = -1;
  actionCounter = 0;

  for (int counter = 0; counter < 1000; ++counter)
	memset((char*)cmds[counter], 0, 20);

  cmdState = 1;
}

void microDelay(uint32_t us)
{
  uint32_t counter1, counter2, diff;
  counter1 = __HAL_TIM_GET_COUNTER(&htim5);

  while (1)
  {
	counter2 = __HAL_TIM_GET_COUNTER(&htim5);
	diff = counter2 >= counter1 ? counter2 - counter1 : 4294967295 - counter1 + counter2;

	if (diff >= us)
	  break;
  }
}

void fvalShift(float *val, uint8_t size)
{
  for (int counter = 0; counter < size - 1; ++counter)
	val[counter] = val[counter + 1];
}

void valShift(uint32_t *val, uint8_t size)
{
  for (int counter = 0; counter < size - 1; ++counter)
	val[counter] = val[counter + 1];
}

void adjustRobot()
{
  driveCmd = adjustDir;
  adjustDir = adjustDir == 'F' ? 'B' : 'F';

  robotDist = adjustDist;

  servoVal = angleCmd == 2 ? servoCenter : ((driveCmd == 'F' && yawDiff > 0) || (driveCmd == 'B' && yawDiff < 0) ? servoRight : servoLeft);
  osDelay(turningDelay);
}

void driveRobot(uint8_t *cmd)
{
  if (startDriving == 0)
  {
	if (angleCmd == 0)
	{
	  driveCmd = cmd[4];
	  adjustDir = driveCmd == 'F' ? 'B' : 'F';

	  angleCmd = cmd[5] == 'I' ? 3 : 0;

	  if (angleCmd == 0)
	  {
	    char distStr[5];
	    strncpy(distStr, (char*)(cmd + 6), 4);
	    robotDist = (float)atoi(distStr);
	  }
	  else
	  {
		char distStr[3];
		strncpy(distStr, (char*)(cmd + 8), 2);
		irMaintain = (float)atoi(distStr);
	  }

	  distBuffer = distOffset;

	  enablePWMDec = angleCmd == 0 ? 1 : 0;
	  enablePWMInc = angleCmd == 3 || robotDist > 2 * changeDist - distBuffer ? 1 : 0;
	  enablePID = HAL_GPIO_ReadPin(ENABLE_GPIO_Port, ENABLE_Pin) == 1 && enablePWMInc == 1 ? 1 : 0;

	  if (enablePID == 1)
	  {
	  	prevEncoderA = 0;
	  	prevEncoderB = 0;
	  	iTermA = highMotorAPWM;
	  	iTermB = highMotorBPWM;

	  	pidCount = 0;
	  }
	}
	else
	{
	  distBuffer = turnOffset;
	  enablePWMDec = 0;
	  enablePWMInc = 0;
	}

	motorAVal = robotDist > distBuffer || angleCmd == 3 ? lowMotorAPWM : 0;
    motorBVal = motorAVal != 0 ? lowMotorBPWM : 0;
    ultraThres = ultraLThres;

	distA = motorAVal != 0 ? encoderInt : 0;
	distB = distA;

	eStop = 0;
	eStopDist = 0;
	ultraSlow = 0;
	startPID = 0;
	startDriving = 1;
  }
  else
  {
	float irDist, ultraDist;

	irDist = irToDist();
	ultraDist = avgVal(ultraVal, ultraCounter, ultraGrad, 0);

	if (eStop == 1 && ultraDist > ultraThres)
	{
	  eStop = 0;
	  stopRobot();
	}
	else if (eStop == 0)
	{
	  if (ultraDist <= ultraThres)
	  {
	    eStop = 1;
	    startPID = 0;

	    if (angleCmd == 3)
		  eStopDist = distA <= distB ? distA : distB;

	    driveCmd = 'B';
	    motorAVal = lowMotorAPWM;
	    motorBVal = lowMotorBPWM;
	    ultraThres = ultraLThres;

	    servoVal = servoCenter;
	  }
	  else if (ultraSlow == 0 && ultraDist <= ultraThres + changeDist)
	  {
		startPID = startPID != 0 ? 2 : 0;
		enablePWMInc = enablePWMInc != 0 ? 2 : 0;

		prevMotorAVal = motorAVal;
		prevMotorBVal = motorBVal;
		prevUltraThres = ultraThres;

		motorAVal = lowMotorAPWM;
		motorBVal = lowMotorBPWM;
		ultraThres = ultraLThres;

		ultraSlow = 1;
	  }
	  else if (ultraSlow == 1 && ultraDist > ultraThres + changeDist)
	  {
		motorAVal = prevMotorAVal;
		motorBVal = prevMotorBVal;
		ultraThres = prevUltraThres;

		if (enablePWMInc == 2)
		  enablePWMInc = 1;

		if (startPID == 2)
		  startPID = 1;

		ultraSlow = 0;
	  }
	}

	if (startDriving == 1 && eStop == 0)
	{
	  if (angleCmd != 3 && distA >= robotDist - distBuffer && distB >= robotDist - distBuffer)
	    stopRobot();
	  else if (angleCmd == 3 && irDist >= irObsThres)
	  {
	    startPID = 0;

	    motorAVal = lowMotorAPWM;
	    motorBVal = lowMotorBPWM;

	    servoVal = servoCenter;

	    osDelay(irThresDelay);
	    stopRobot();
      }
	}

	if (startDriving == 1 && eStop == 0)
	{
	  if (angleCmd == 3)
	  {
		timerCounter2 = __HAL_TIM_GET_COUNTER(&htim5);
	    timerDiff = timerCounter2 >= timerCounter1 ? timerCounter2 - timerCounter1 : 4294967295 - timerCounter1 + timerCounter2;

	    if (timerDiff >= 1000 * irAdjustDelay)
	    {
	      if (irAdjust == 2)
	    	irAdjust = 0;

	      if (irAdjust == 1)
	      {
	    	irAdjust = 2;
	    	servoVal = servoCenter;
	    	timerCounter1 = __HAL_TIM_GET_COUNTER(&htim5);
	      }
	    }

	    if (irAdjust == 0)
	    {
	      irAdjust = 1;
	      servoVal = fabs(irDist - irMaintain) <= irMaintainThres ? servoCenter : (irDist > irMaintain ? servoRight : servoLeft);
	      timerCounter1 = __HAL_TIM_GET_COUNTER(&htim5);
	    }
	  }

	  if ((angleCmd == 0 || angleCmd == 3) && enablePWMInc == 1 && distA >= changeDist - distBuffer && distB >= changeDist - distBuffer)
	  {
	    motorAVal = highMotorAPWM;
	  	motorBVal = highMotorBPWM;
	  	ultraThres = ultraHThres;

	  	if (enablePID == 1)
	  	  startPID = 1;

	    enablePWMInc = 0;
	  }

	  if (angleCmd == 0 && enablePWMDec == 1 && robotDist - distBuffer - distA <= changeDist && robotDist - distBuffer - distB <= changeDist)
	  {
	    startPID = 0;

	    motorAVal = lowMotorAPWM;
	    motorBVal = lowMotorBPWM;
	    ultraThres = ultraLThres;

	    enablePWMDec = 0;
	  }
	}
  }
}

void pid(uint32_t dur)
{
  if (startPID == 1)
  {
	if (pidCount++ >= countRequired)
	{
	  float kdA, kdB, kiA, kiB, kpA, kpB;

	  kdA = (driveCmd == 'F' ? kdfA : kdbA) * 1000 / dur;
	  kiA = (driveCmd == 'F' ? kifA : kibA) * dur / 1000;
	  kpA = driveCmd == 'F' ? kpfA : kpbA;

	  kdB = (driveCmd == 'F' ? kdfB : kdbB) * 1000 / dur;
	  kiB = (driveCmd == 'F' ? kifB : kibB) * dur / 1000;
	  kpB = driveCmd == 'F' ? kpfB : kpbB;

	  errorA = encoderTarget - encoderAVal;
	  errorB = encoderTarget - encoderBVal;

	  iTermA += kiA * errorA;
	  iTermB += kiB * errorB;

	  if (prevEncoderA == 0 && prevEncoderB == 0)
	  {
	    prevEncoderA = encoderAVal;
	    prevEncoderB = encoderBVal;
	  }

	  motorAVal = (int)(kpA * errorA - kdA * (encoderAVal - prevEncoderA) + iTermA);
	  motorBVal = (int)(kpB * errorB - kdB * (encoderBVal - prevEncoderB) + iTermB);

	  prevEncoderA = encoderAVal;
	  prevEncoderB = encoderBVal;
    }

	//sprintf((char*)txBuffer, "%-3d %-3d %-5d %-5d", encoderAVal, encoderBVal, motorAVal, motorBVal);
	//HAL_UART_Transmit(&huart3, txBuffer, 19, 0xFFFF);
  }
}

void stopRobot()
{
  uint8_t canAdjust, prevAngleCmd, resetAngleCmd;

  prevAngleCmd = angleCmd;
  resetAngleCmd = 1;

  startPID = 0;

  motorAVal = 0;
  motorBVal = 0;
  osDelay(stoppingDelay);

  if (angleCmd == 3)
  {
	angleCmd = 0;

	float currDist = distA <= distB ? distA : distB;

	sprintf((char*)txBuffer, "%-4d               ", (int)((eStopDist == 0 ? currDist : 2 * eStopDist - currDist) + 0.5));
	HAL_UART_Transmit(&huart3, txBuffer, 19, 0xFFFF);
  }

  canAdjust = enableAdjust == 1 && fmedVal(yawVal, yawCounter) != prevYaw && angleCmd != 2 ? 1 : 0;
  prevYaw = fmedVal(yawVal, yawCounter);

  if (canAdjust == 1)
  {
    osDelay(adjustDelay);

    yawDiff = 180 - fabs(fabs(prevYaw - yawDir[facingDir]) - 180);
    yawDiff *= fabs((prevYaw + yawDiff >= 360 ? prevYaw + yawDiff - 360 : prevYaw + yawDiff) - yawDir[facingDir]) <= 0.5 ? -1 : 1;

    if (fabs(yawDiff) > yawThreshold)
    {
      angleCmd = 1;
      resetAngleCmd = 0;
    }
  }

  if (prevAngleCmd == 1 && resetAngleCmd == 1)
  {
	angleCmd = 2;
	resetAngleCmd = 0;

	adjustRobot();
  }

  if (angleCmd == 1)
	adjustRobot();
  else if (angleCmd != 0 && angleCmd != 2)
  {
    servoVal = servoCenter;
    osDelay(turningDelay);
  }

  if (resetAngleCmd == 1)
	angleCmd = 0;

  startDriving = 0;

  if (angleCmd != 1 && angleCmd != 2)
    driveCmd = 0;

  if (angleCmd == 0)
  {
    prevYaw = -1;
    cmdState = 2;
  }
}

void turnRobot(uint8_t *cmd)
{
  if (angleCmd == 0)
  {
    char angleStr[4];
    strncpy(angleStr, (char*)(cmd + 7), 3);
    robotAngle = atoi(angleStr);

    angleCmd = cmd[4];
    driveCmd = cmd[5];

    adjustDir = driveCmd == 'F' ? 'B' : 'F';

    if (angleCmd == 'L' && driveCmd == 'B')
      robotDist = lbGrad * robotAngle + lbInt;
    else if (angleCmd == 'L' && driveCmd == 'F')
	  robotDist = lfGrad * robotAngle + lfInt;
    else if (angleCmd == 'R' && driveCmd == 'B')
  	  robotDist = rbGrad * robotAngle + rbInt;
    else if (angleCmd == 'R' && driveCmd == 'F')
	  robotDist = rfGrad * robotAngle + rfInt;

    if ((angleCmd == 'L' && driveCmd == 'B') || (angleCmd == 'R' && driveCmd == 'F'))
      facingDir = (facingDir + 1) % 4;
    else
      facingDir = facingDir == 0 ? 3 : facingDir - 1;

    servoVal = angleCmd == 'L' ? servoFarLeft : servoFarRight;
    osDelay(turningDelay);
  }
  else
	driveRobot(cmd);
}
/* USER CODE END 4 */

void oled(void *argument)
{
  /* USER CODE BEGIN 5 */
  uint8_t strBuffer[20];

  OLED_Init();
  /* Infinite loop */
  for(;;)
  {
	sprintf((char*)strBuffer, "          ");

	if (eStop == 1)
	  sprintf((char*)strBuffer, "Emerg Stop");
	else if (angleCmd == 1 || angleCmd == 2)
	  sprintf((char*)strBuffer, "Adjusting ");
	else if (actionCounter <= fillCounter && bufferFilled(cmds[actionCounter], 10) == 1)
      strncpy((char*)strBuffer, (char*)cmds[actionCounter], 20);

	OLED_ShowString(10, 0, strBuffer);

	//sprintf((char*)strBuffer, "DistA: %-5d", (int)(distA + 0.5));
    //sprintf((char*)strBuffer, "MotorA: %-5d", (int)motorAVal);
	//sprintf((char*)strBuffer, "EncA: %-5d", (int)encoderAVal);
	//sprintf((char*)strBuffer, "IR: %-5d", (int)(avgVal(irVal, irCounter, irGrad, irInt) + 0.5));
	//sprintf((char*)strBuffer, "Ultra: %-5d", (int)(avgVal(ultraVal, ultraCounter, ultraGrad, ultraInt) + 0.5));
	//sprintf((char*)strBuffer, "Tick1: %-5d", (int)tick1);
	//sprintf((char*)strBuffer, "TempA: %-5d", (int)(tempA + 0.5));
	//sprintf((char*)strBuffer, "AdjState: %-5d", (int)adjusting);
	//sprintf((char*)strBuffer, "0: %-5d", (int)ultraVal[0]);
	//sprintf((char*)strBuffer, "Angle: %-5d", (int)robotAngle);
	//sprintf((char*)strBuffer, "CounterA: %-5d", (int)counterA);
	//sprintf((char*)strBuffer, "Yaw: %-5d", (int)(fmedVal(yawVal, yawCounter) + 0.5));
	sprintf((char*)strBuffer, "Profile: %d", (int)profile);
	OLED_ShowString(10, 10, strBuffer);

	//sprintf((char*)strBuffer, "DistB: %-5d", (int)(distB + 0.5));
	//sprintf((char*)strBuffer, "MotorA: %-5d", (int)motorAVal);
	//sprintf((char*)strBuffer, "EncB: %-5d", (int)encoderBVal);
	//sprintf((char*)strBuffer, "Tick2: %-5d", (int)tick2);
	//sprintf((char*)strBuffer, "TempB: %-5d", (int)(tempB + 0.5));
	//sprintf((char*)strBuffer, "Ultra: %-5d", (int)(avgVal(ultraVal, ultraCounter, ultraGrad, ultraInt) + 0.5));
	//sprintf((char*)strBuffer, "Adjust: %c %-5d", driveCmd, (int)(robotDist + 0.5));
	//sprintf((char*)strBuffer, "1: %-5d", (int)ultraVal[1]);
	sprintf((char*)strBuffer, "PID: %d", (int)HAL_GPIO_ReadPin(ENABLE_GPIO_Port, ENABLE_Pin));
	OLED_ShowString(10, 20, strBuffer);

	//sprintf((char*)strBuffer, "Action: %-5d", (int)actionCounter);
	//sprintf((char*)strBuffer, "DistA: %-5d", (int)(distA + 0.5));
	//sprintf((char*)strBuffer, "TempA: %-5d", (int)(tempA + 0.5));
	//sprintf((char*)strBuffer, "2: %-5d", (int)ultraVal[2]);
	//sprintf((char*)strBuffer, "EncA: %-5d", (int)encoderAVal);
	//sprintf((char*)strBuffer, "Facing: %-5d", (int)facingDir);
	//sprintf((char*)strBuffer, "Adjust: %d", (int)enableAdjust);
	sprintf((char*)strBuffer, "IR: %-5d", (int)(irToDist() + 0.5));
	OLED_ShowString(10, 30, strBuffer);

	//sprintf((char*)strBuffer, "Fill: %-5d", (int)fillCounter);
	//sprintf((char*)strBuffer, "DistB: %-5d", (int)(distB + 0.5));
	//sprintf((char*)strBuffer, "TempB: %-5d", (int)(tempB + 0.5));
	//sprintf((char*)strBuffer, "TempA: %-5d", (int)ultraCount2);
	//sprintf((char*)strBuffer, "3: %-5d", (int)ultraVal[3]);
	//sprintf((char*)strBuffer, "EncB: %-5d", (int)encoderBVal);
	//sprintf((char*)strBuffer, "Drive: %c", driveCmd);
	//sprintf((char*)strBuffer, "Diff: %-5d", (int)(yawDiff + 0.5));
	//sprintf((char*)strBuffer, "IR: %-5d", (int)(irToDist() + 0.5));
	sprintf((char*)strBuffer, "Ultra: %-5d", (int)(avgVal(ultraVal, ultraCounter, ultraGrad, 0) + 0.5));
	OLED_ShowString(10, 40, strBuffer);

	OLED_ShowString(10, 50, batteryState);

	OLED_Refresh_Gram();
    osDelay(oledDelay);
  }
  /* USER CODE END 5 */
}

void ir(void *argument)
{
  /* USER CODE BEGIN ir */
  /* Infinite loop */
  for(;;)
  {
	if (irCounter > 99)
	  valShift(irVal, 100);

	HAL_ADC_Start(&hadc1);
	HAL_ADC_PollForConversion(&hadc1, 0xFFFF);
	irVal[irCounter == 100 ? 99 : irCounter++] = HAL_ADC_GetValue(&hadc1);

    osDelay(irDelay);
  }
  /* USER CODE END ir */
}

void rpi(void *argument)
{
  /* USER CODE BEGIN rpi */
  char strCounter[4];
  int cmdCounter;
  uint8_t cmdType, prevEnableAdjust;
  /* Infinite loop */
  for(;;)
  {
	HAL_UART_Receive_IT(&huart3, rxBuffer, 10);

	if (bufferFilled(rxBuffer, 10) == 1)
	{
	  if (rxBuffer[0] == 'S')
	  {
		prevEnableAdjust = enableAdjust;
		enableAdjust = 0;
		angleCmd = 0;

		stopRobot();
		clearCmds();

		enableAdjust = prevEnableAdjust;
	  }
	  else
	  {
	    strncpy(strCounter, (char*)rxBuffer, 3);
        cmdCounter = atoi(strCounter);

        if (cmdCounter >= 0 && cmdCounter < 1000)
        {
          strncpy((char*)cmds[cmdCounter], (char*)rxBuffer, 20);

          if (cmdCounter > fillCounter)
            fillCounter = cmdCounter;
        }
	  }

      memset(rxBuffer, 0, 20);
	}

    if (cmdState == 2)
    {
      cmdState = 0;
      cmdType = cmds[actionCounter][4];
      strncpy(strCounter, (char*)cmds[actionCounter], 3);

      if (cmdType == 'C')
    	clearCmds();

      sprintf((char*)txBuffer, cmdType == 'C' ? "Done C             " :"Done %-3d           ", atoi(strCounter));
      HAL_UART_Transmit(&huart3, txBuffer, 19, 0xFFFF);
    }

    if (cmdState == 0 && actionCounter <= fillCounter)
    {
      cmdState = 1;
      ++actionCounter;
    }

    osDelay(rpiDelay);
  }
  /* USER CODE END rpi */
}

void servo(void *argument)
{
  /* USER CODE BEGIN servo */
  HAL_TIM_PWM_Start(&htim1, TIM_CHANNEL_4);
  /* Infinite loop */
  for(;;)
  {
	if (servoVal < servoFarLeft)
	  servoVal = servoFarLeft;
	else if (servoVal > servoFarRight)
	  servoVal = servoFarRight;

	__HAL_TIM_SetCompare(&htim1, TIM_CHANNEL_4, angleCmd == 0 ? servoCenter : servoVal);

	osDelay(servoDelay);
  }
  /* USER CODE END servo */
}

void dispatch(void *argument)
{
  /* USER CODE BEGIN dispatch */
  uint8_t cmdType;
  /* Infinite loop */
  for(;;)
  {
	if (cmdState == 1 && actionCounter <= fillCounter)
	{
	  cmdType = cmds[actionCounter][4];

	  switch (cmdType)
	  {
	  case 'F':
	  case 'B':
		driveRobot(cmds[actionCounter]);
		break;

	  case 'L':
	  case 'R':
		turnRobot(cmds[actionCounter]);
		break;

	  case 'I':
	  case 'U':
		sprintf((char*)txBuffer, "%-4d               ", (int)((cmdType == 'I' ? irToDist() : avgVal(ultraVal, ultraCounter, ultraGrad, 0)) + 0.5));
		HAL_UART_Transmit(&huart3, txBuffer, 19, 0xFFFF);

	  case 'C':
		cmdState = 2;
		break;

	  default:
		++actionCounter;
	  }
	}

	osDelay(dispatchDelay);
  }
  /* USER CODE END dispatch */
}

void battery(void *argument)
{
  /* USER CODE BEGIN battery */
  float avgBattery;
  /* Infinite loop */
  for(;;)
  {
	if (batteryCounter > 4)
	  valShift(batteryVal, 5);

	HAL_ADC_Start(&hadc2);
	HAL_ADC_PollForConversion(&hadc2, 0xFFFF);
	batteryVal[batteryCounter == 5 ? 4 : batteryCounter++] = HAL_ADC_GetValue(&hadc2);

	avgBattery = avgVal(batteryVal, batteryCounter, 1, 0);

	if (avgBattery > 1360)
	  sprintf((char*)batteryState, "Batt: Full  ");
	else if (avgBattery > 1350)
	  sprintf((char*)batteryState, "Batt: High  ");
	else if (avgBattery > 1330)
	  sprintf((char*)batteryState, "Batt: Medium");
	else if (avgBattery > 1320)
	  sprintf((char*)batteryState, "Batt: Normal");
	else if (avgBattery > 1310)
	  sprintf((char*)batteryState, "Batt: Low   ");
	else if (avgBattery > 1000)
	  sprintf((char*)batteryState, "Batt: Charge");
	else
	  sprintf((char*)batteryState, "Batt: Off   ");

	osDelay(batteryDelay);
  }
  /* USER CODE END battery */
}

void led(void *argument)
{
  /* USER CODE BEGIN led */
  /* Infinite loop */
  for(;;)
  {
	HAL_GPIO_TogglePin(GPIOE, LED_Pin);
	osDelay(ledDelay);
  }
  /* USER CODE END led */
}

void ultra(void *argument)
{
  /* USER CODE BEGIN ultra */
  HAL_TIM_IC_Start_IT(&htim4, TIM_CHANNEL_3);
  /* Infinite loop */
  for(;;)
  {
	HAL_GPIO_WritePin(ULTRA_TRIG_GPIO_Port, ULTRA_TRIG_Pin, GPIO_PIN_SET);
	microDelay(10);
	HAL_GPIO_WritePin(ULTRA_TRIG_GPIO_Port, ULTRA_TRIG_Pin, GPIO_PIN_RESET);

	__HAL_TIM_ENABLE_IT(&htim4, TIM_IT_CC3);

	osDelay(ultraDelay);
  }
  /* USER CODE END ultra */
}

void motor(void *argument)
{
  /* USER CODE BEGIN motor */
  HAL_TIM_PWM_Start_IT(&htim8, TIM_CHANNEL_1);
  HAL_TIM_PWM_Start_IT(&htim8, TIM_CHANNEL_2);
  /* Infinite loop */
  for(;;)
  {
	if (motorAVal < 0)
	  motorAVal = 0;
	else if (motorAVal > maxMotorPWM)
	  motorAVal = maxMotorPWM;

	if (motorBVal < 0)
	  motorBVal = 0;
	else if (motorBVal > maxMotorPWM)
	  motorBVal = maxMotorPWM;

	HAL_GPIO_WritePin(GPIOA, AIN1_Pin, driveCmd == 'F' ? GPIO_PIN_SET : GPIO_PIN_RESET);
	HAL_GPIO_WritePin(GPIOA, AIN2_Pin, driveCmd == 'F' ? GPIO_PIN_RESET : GPIO_PIN_SET);
	HAL_GPIO_WritePin(GPIOA, BIN1_Pin, driveCmd == 'F' ? GPIO_PIN_SET : GPIO_PIN_RESET);
	HAL_GPIO_WritePin(GPIOA, BIN2_Pin, driveCmd == 'F' ? GPIO_PIN_RESET : GPIO_PIN_SET);

	__HAL_TIM_SetCompare(&htim8, TIM_CHANNEL_1, driveCmd == 0 ? 0 : (uint32_t)motorAVal);
	__HAL_TIM_SetCompare(&htim8, TIM_CHANNEL_2, driveCmd == 0 ? 0 : (uint32_t)motorBVal);

	osDelay(motorDelay);
  }
  /* USER CODE END motor */
}

void encoder(void *argument)
{
  /* USER CODE BEGIN encoder */
  uint32_t cnt1A, cnt1B, cnt2A, cnt2B, diff1A, diff1B, diff2A, diff2B, dur, tick1, tick2;

  HAL_TIM_Encoder_Start(&htim2, TIM_CHANNEL_ALL);
  HAL_TIM_Encoder_Start(&htim3, TIM_CHANNEL_ALL);

  cnt1A = __HAL_TIM_GET_COUNTER(&htim2);
  cnt1B = __HAL_TIM_GET_COUNTER(&htim3);

  tick1 = HAL_GetTick();
  /* Infinite loop */
  for(;;)
  {
    tick2 = HAL_GetTick();
    dur = tick2 >= tick1 ? tick2 - tick1 : 4294967295 - tick1 + tick2;

	if (dur > encoderDelay)
	{
	  cnt2A = __HAL_TIM_GET_COUNTER(&htim2);
	  cnt2B = __HAL_TIM_GET_COUNTER(&htim3);

	  diff1A = abs(cnt1A - cnt2A);
	  diff1B = abs(cnt1B - cnt2B);
	  diff2A = abs(65535 - (__HAL_TIM_IS_TIM_COUNTING_DOWN(&htim2) ? cnt2A - cnt1A : cnt1A - cnt2A));
	  diff2B = abs(65535 - (__HAL_TIM_IS_TIM_COUNTING_DOWN(&htim3) ? cnt2B - cnt1B : cnt1B - cnt2B));

	  encoderAVal = diff1A < diff2A ? diff1A : diff2A;
	  encoderBVal = diff1B < diff2B ? diff1B : diff2B;

	  if (startDriving == 1)
	  {
		distA += encoderGrad * pi * radius * encoderAVal / 165;
		distB += encoderGrad * pi * radius * encoderBVal / 165;
	  }

	  pid(dur);

	  cnt1A = __HAL_TIM_GET_COUNTER(&htim2);
	  cnt1B = __HAL_TIM_GET_COUNTER(&htim3);

	  tick1 = HAL_GetTick();
	}
  }
  /* USER CODE END encoder */
}

void icm(void *argument)
{
  /* USER CODE BEGIN icm */
  axises accel, gyro, mag;

  icm20948_init();
  ak09916_init();
  TM_AHRSIMU_Init(&imu, 1000.0 / icmDelay, beta, inclination);
  /* Infinite loop */
  for(;;)
  {
	if (icm20948_ready() == 1)
	{
	  icm20948_accel_read_g(&accel);
	  icm20948_gyro_read_dps(&gyro);

	  if (useMag == 1)
	    ak09916_mag_read_uT(&mag);

	  TM_AHRSIMU_UpdateAHRS(&imu, AHRSIMU_DEG2RAD(gyro.x), AHRSIMU_DEG2RAD(gyro.y), AHRSIMU_DEG2RAD(gyro.z), accel.x, accel.y, accel.z, mag.x, mag.y, mag.z);

	  if (yawCounter > 4)
	  	fvalShift(yawVal, 5);

	  yawVal[yawCounter == 5 ? 4 : yawCounter++] = imu.Yaw;
	}

	icm20948_sleep();
	icm20948_wakeup();

    osDelay(icmDelay);
  }
  /* USER CODE END icm */
}

void Error_Handler(void)
{
  __disable_irq();
  while (1)
  {
  }
}
